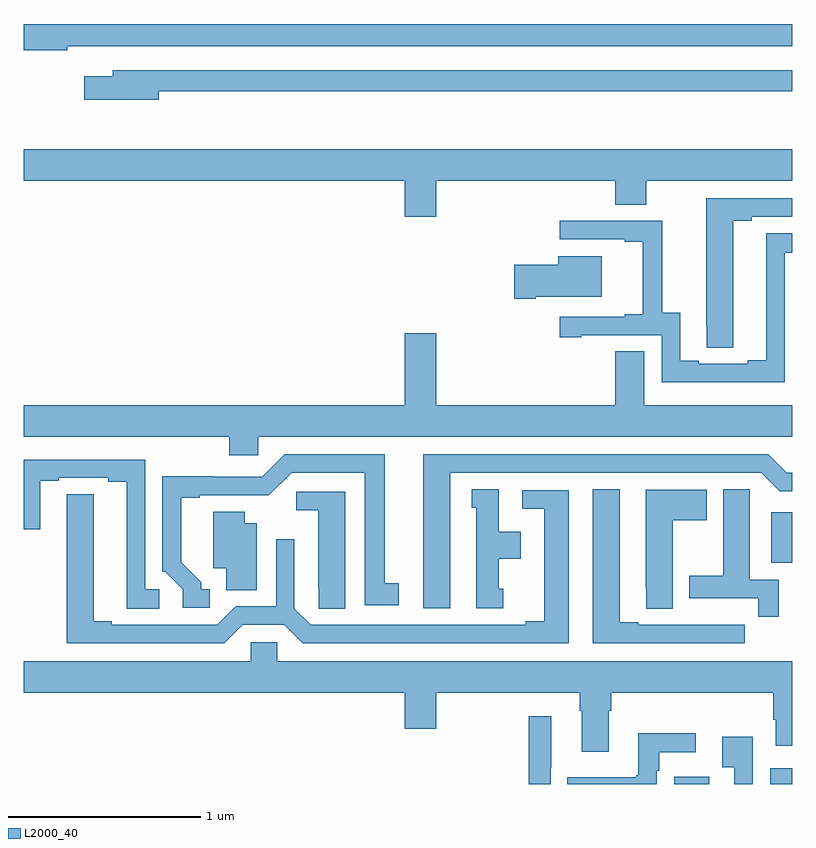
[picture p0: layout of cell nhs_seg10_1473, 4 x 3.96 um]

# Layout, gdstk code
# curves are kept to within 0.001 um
import gdstk
lib = gdstk.Library(unit=1e-6, precision=1e-09)
def R(c, l, rs):  # rectangles x0, y0, x1, y1
    for r in rs: c.add(gdstk.rectangle(r[:2], r[2:], *l))
def P(c, l, *ps):  # polygons
    for p in ps: c.add(gdstk.Polygon(p, *l))
L2000_40 = (2000, 40)

nhs_seg10_1473 = lib.new_cell('nhs_seg10_1473')
R(nhs_seg10_1473, L2000_40, [(190.385,1306.5,190.569,1306.539), (190.886,1306.5,191,1306.582), (190.892,1307.651,191,1307.914)])
P(nhs_seg10_1473, L2000_40, [(187.226,1310.34),(191,1310.34),(191,1310.456),(187,1310.456),(187,1310.32),(187.226,1310.32)],
  [(187.702,1310.106),(191,1310.106),(191,1310.214),(187.463,1310.214),(187.463,1310.185),(187.314,1310.185),(187.314,1310.063),(187.702,1310.063)],
  [(189.148,1309.64),(190.079,1309.64),(190.079,1309.516),(190.239,1309.516),(190.239,1309.64),(191,1309.64),(191,1309.804),(187,1309.804),(187,1309.64),(188.984,1309.64),(188.984,1309.452),(189.148,1309.452)],
  [(190.693,1309.432),(190.789,1309.432),(190.789,1309.452),(191,1309.452),(191,1309.548),(190.553,1309.548),(190.553,1308.88),(190.554,1308.88),(190.554,1308.772),(190.693,1308.772)],
  [(190.962,1309.266),(191,1309.266),(191,1309.367),(190.865,1309.367),(190.865,1308.707),(190.769,1308.707),(190.769,1308.687),(190.513,1308.687),(190.513,1308.702),(190.417,1308.702),(190.417,1308.953),(190.323,1308.953),(190.323,1309.431),(189.789,1309.431),(189.789,1309.335),(190.127,1309.335),(190.127,1309.323),(190.223,1309.323),(190.223,1308.946),(190.127,1308.946),(190.127,1308.933),(189.789,1308.933),(189.789,1308.825),(189.901,1308.825),(189.901,1308.837),(190.32,1308.837),(190.32,1308.591),(190.962,1308.591)],
  [(189.664,1309.037),(190.009,1309.037),(190.009,1309.246),(189.782,1309.246),(189.782,1309.203),(189.552,1309.203),(189.552,1309.025),(189.664,1309.025)],
  [(188.22,1308.308),(191,1308.308),(191,1308.472),(190.231,1308.472),(190.231,1308.752),(190.079,1308.752),(190.079,1308.472),(189.148,1308.472),(189.148,1308.847),(188.984,1308.847),(188.984,1308.472),(187,1308.472),(187,1308.308),(188.069,1308.308),(188.069,1308.21),(188.22,1308.21)],
  [(187.969,1307.514),(187.924,1307.514),(187.924,1307.549),(187.819,1307.654),(187.819,1307.991),(187.915,1307.991),(187.915,1308.003),(188.276,1308.002),(188.394,1308.12),(188.774,1308.12),(188.774,1307.43),(188.953,1307.43),(188.953,1307.546),(188.878,1307.546),(188.878,1308.216),(188.358,1308.216),(188.241,1308.099),(187.985,1308.099),(187.985,1308.101),(187.722,1308.101),(187.722,1307.604),(187.737,1307.604),(187.827,1307.514),(187.827,1307.418),(187.969,1307.418)],
  [(189.22,1308.12),(190.839,1308.12),(190.935,1308.024),(191,1308.024),(191,1308.12),(190.971,1308.12),(190.875,1308.216),(189.08,1308.216),(189.08,1307.415),(189.22,1307.415)],
  [(187.705,1307.514),(187.632,1307.514),(187.632,1308.189),(187,1308.189),(187,1307.827),(187.087,1307.827),(187.087,1308.078),(187.183,1308.078),(187.183,1308.093),(187.439,1308.093),(187.439,1308.073),(187.535,1308.073),(187.535,1307.413),(187.705,1307.413)],
  [(189.496,1307.517),(189.472,1307.517),(189.472,1307.672),(189.586,1307.672),(189.586,1307.812),(189.472,1307.812),(189.472,1308.035),(189.332,1308.035),(189.332,1307.937),(189.356,1307.937),(189.356,1307.415),(189.496,1307.415)],
  [(190.931,1307.562),(190.78,1307.562),(190.78,1307.924),(190.779,1307.924),(190.779,1308.035),(190.64,1308.035),(190.64,1307.583),(190.463,1307.583),(190.463,1307.466),(190.822,1307.466),(190.822,1307.37),(190.931,1307.37)],
  [(190.753,1307.328),(190.64,1307.328),(190.64,1307.329),(190.474,1307.329),(190.474,1307.328),(190.198,1307.328),(190.198,1307.343),(190.102,1307.343),(190.102,1308.035),(189.962,1308.035),(189.962,1307.232),(190.753,1307.232)],
  [(190.378,1307.872),(190.555,1307.872),(190.555,1308.031),(190.238,1308.031),(190.238,1307.521),(190.239,1307.521),(190.239,1307.413),(190.378,1307.413)],
  [(188.139,1307.328),(188.357,1307.328),(188.453,1307.232),(189.838,1307.232),(189.838,1308.03),(189.594,1308.03),(189.594,1307.934),(189.71,1307.934),(189.71,1307.348),(189.614,1307.348),(189.614,1307.328),(188.493,1307.328),(188.409,1307.412),(188.409,1307.773),(188.313,1307.773),(188.313,1307.424),(188.103,1307.424),(188.007,1307.328),(187.459,1307.328),(187.459,1307.348),(187.363,1307.348),(187.363,1308.008),(187.224,1308.008),(187.223,1307.232),(188.043,1307.232)],
  [(188.674,1308.021),(188.418,1308.021),(188.418,1307.924),(188.534,1307.924),(188.534,1307.521),(188.535,1307.521),(188.535,1307.413),(188.674,1307.413)],
  [(188.212,1307.857),(188.149,1307.857),(188.149,1307.918),(187.985,1307.918),(187.985,1307.624),(188.054,1307.624),(188.054,1307.509),(188.212,1307.509)],
  [(190.045,1306.88),(190.058,1306.88),(190.058,1306.976),(190.901,1306.976),(190.901,1306.834),(190.913,1306.834),(190.913,1306.698),(191,1306.698),(191,1307.14),(188.319,1307.14),(188.319,1307.238),(188.181,1307.238),(188.181,1307.14),(187,1307.14),(187,1306.976),(188.984,1306.976),(188.984,1306.788),(189.148,1306.788),(189.148,1306.976),(189.893,1306.976),(189.893,1306.88),(189.905,1306.88),(189.905,1306.668),(190.045,1306.668)],
  [(189.744,1306.585),(189.745,1306.585),(189.745,1306.852),(189.628,1306.852),(189.628,1306.5),(189.744,1306.5)],
  [(190.296,1306.568),(190.309,1306.568),(190.309,1306.665),(190.498,1306.665),(190.498,1306.763),(190.199,1306.763),(190.199,1306.546),(190.188,1306.546),(190.188,1306.534),(189.829,1306.534),(189.829,1306.5),(190.296,1306.5)],
  [(190.794,1306.747),(190.635,1306.747),(190.635,1306.587),(190.698,1306.587),(190.698,1306.5),(190.794,1306.5)])

lib.write_gds('nhs_seg10_1473.gds')
